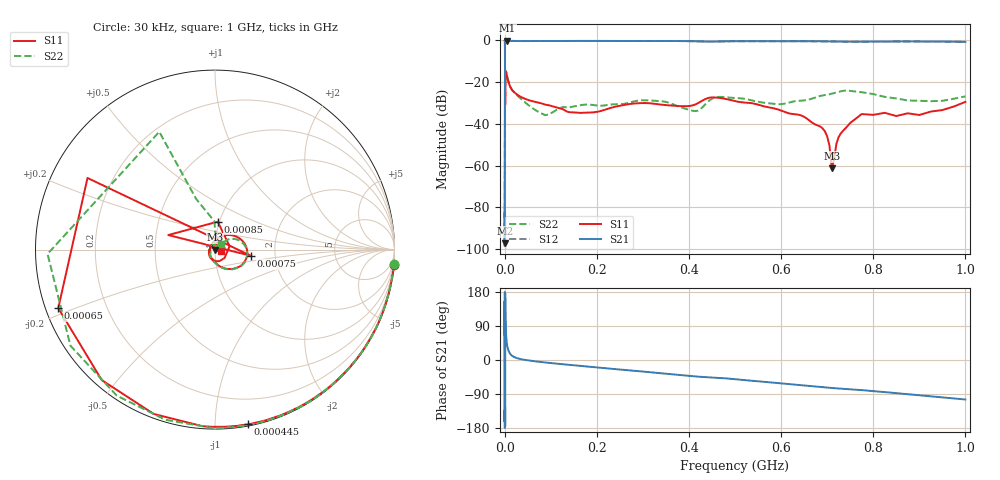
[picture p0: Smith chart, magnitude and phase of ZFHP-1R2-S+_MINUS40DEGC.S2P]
! Mini-Circuits
! S2P DATA File Format
! Type: HIGH PASS FILTER
! Model:ZFHP-1R2+
! All S Parameters are in dB deg format
! TEST CONDITIONS: INPUT POWER = 0 dBm @ Temperature = -40 deg C
! 401 Frequency points
# MHz S DB R 50
!FREQMAG(S11)PHS(S11)MAG(S12)PHS(S12)MAG(S21)PHS(S21)MAG(S22)PHS(S22)
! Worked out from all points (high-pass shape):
!   401 points, 30 kHz to 1 GHz, reference 50 ohm
!   highest |S21| = -0.12 dB at 6 MHz (marker M1); lowest = -97.2 dB at 165 kHz (marker M2)
!   |S21| within 3 dB of the highest: 788.9 kHz to end of sweep
!   lowest |S11| = -61.2 dB at 710 MHz (marker M3), VSWR 1.00, Z = 50.1 - j0.0644 ohm
!   |S11| at or under -10 dB: 734 kHz to end of sweep
!   |S22| runs from -35.8 to 0.0 dB; largest |S21 - S12| = 0.068
!   S11 on the Smith chart (normalised r, x): 30 kHz: -0, -24; 445 kHz: 0.01, -1.21; 650 kHz: 0.04, -0.18; 750 kHz: 1.49, -0.11; 850 kHz: 0.98, +0.31; 1 GHz: 1.07, -0.01
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0.03  0.01 -4.8  -82.34 67.3  -81.43 93.5  0.01 -4.7
0.165  -0.02 -25.6  -97.25 93.1  -95.86 92.9  -0.02 -25.3
0.445  -0.08 -79.3  -56.32 -172.6  -56.35 -172.4  -0.05 -77.7
0.65  -0.61 -159.5  -40.34 113.5  -40.93 116.3  -0.29 -146.4
0.75  -13.88 -9.8  -7.58 135.0  -6.34 132.1  -2.78 115.3
0.85  -16.12 84.3  -0.96 -6.9  -0.95 -7.2  -16.03 91.2
1.05  -23.68 -83.8  -0.34 -113.7  -0.33 -113.7  -23.81 42.1
1.35  -30.81 147.7  -0.18 176.8  -0.18 176.8  -27.86 24.1
1.7  -19.53 50.3  -0.17 134.8  -0.17 134.8  -19.14 32.9
2.25  -15.41 10.2  -0.21 99.2  -0.21 99.2  -15.30 4.6
4  -15.69 -36.1  -0.17 54.6  -0.17 54.6  -15.65 -37.7
6  -17.76 -56.7  -0.12 35.7  -0.13 35.7  -17.72 -57.4
23  -25.18 -113.5  -0.24 6.5  -0.25 6.5  -25.33 -111.2
87  -30.69 172.1  -0.25 -6.3  -0.25 -6.3  -35.71 164.4
170  -34.65 113.2  -0.22 -16.2  -0.22 -16.2  -30.83 119.3
335  -30.61 67.4  -0.23 -34.4  -0.24 -34.4  -28.99 68.1
505  -29.29 30.0  -0.34 -51.3  -0.34 -51.2  -27.59 55.7
670  -39.74 -42.3  -0.36 -69.5  -0.36 -69.5  -27.65 63.6
710  -61.17 -47.4  -0.47 -73.8  -0.47 -73.9  -25.49 56.5
750  -39.53 59.2  -0.59 -77.3  -0.59 -77.4  -24.16 38.3
850  -36.20 -4.7  -0.46 -87.5  -0.46 -87.6  -27.79 20.9
1000  -29.43 -10.0  -0.65 -104.2  -0.64 -104.3  -26.80 41.0
